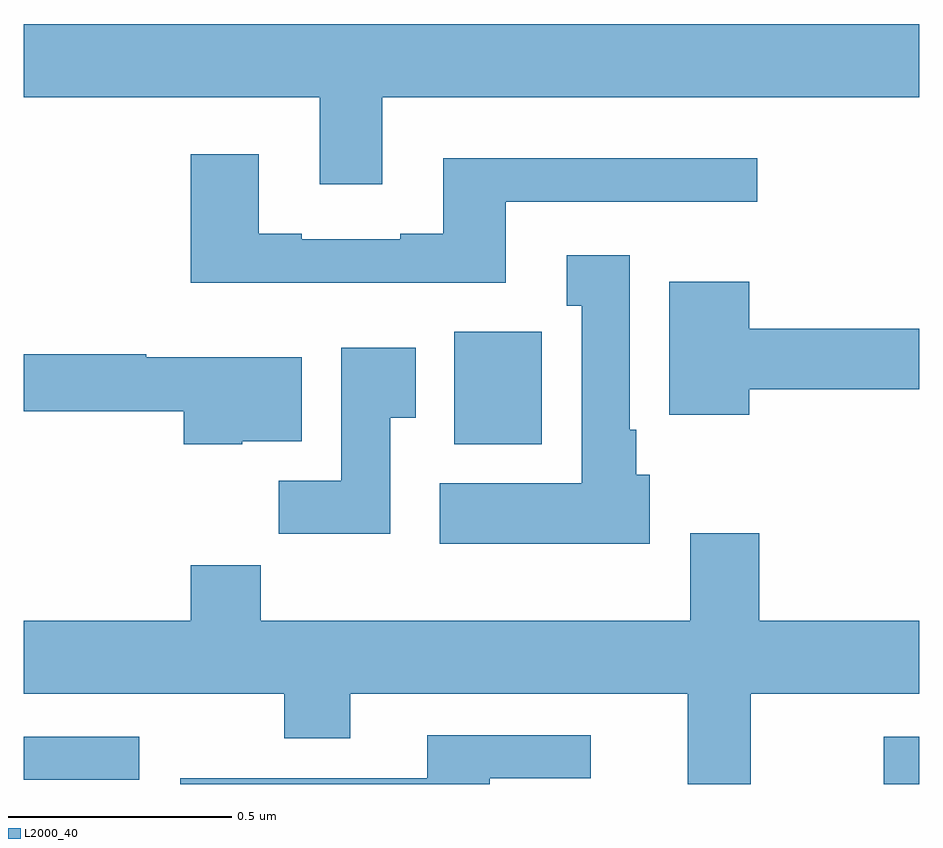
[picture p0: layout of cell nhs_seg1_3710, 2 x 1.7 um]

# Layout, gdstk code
import gdstk
lib = gdstk.Library(unit=1e-6, precision=1e-09)
def R(c, l, rs):  # rectangles x0, y0, x1, y1
    for r in rs: c.add(gdstk.rectangle(r[:2], r[2:], *l))
def P(c, l, *ps):  # polygons
    for p in ps: c.add(gdstk.Polygon(p, *l))
L2000_40 = (2000, 40)

nhs_seg1_3710 = lib.new_cell('nhs_seg1_3710')
R(nhs_seg1_3710, L2000_40, [(158.921,550.199,159,550.305), (157,550.209,157.258,550.305), (157.961,550.958,158.157,551.209)])
P(nhs_seg1_3710, L2000_40, [(157.801,551.732),(159,551.732),(159,551.896),(157,551.896),(157,551.732),(157.661,551.732),(157.661,551.538),(157.801,551.538)],
  [(158.077,551.499),(158.638,551.499),(158.638,551.596),(157.937,551.596),(157.937,551.428),(157.841,551.428),(157.841,551.415),(157.621,551.415),(157.621,551.428),(157.525,551.428),(157.525,551.605),(157.373,551.605),(157.373,551.318),(158.077,551.318)],
  [(158.398,550.89),(158.368,550.89),(158.368,550.99),(158.353,550.99),(158.353,551.38),(158.213,551.38),(158.213,551.267),(158.246,551.267),(158.246,550.87),(157.929,550.87),(157.929,550.736),(158.398,550.736)],
  [(158.62,551.08),(159,551.08),(159,551.216),(158.62,551.216),(158.62,551.32),(158.441,551.32),(158.441,551.024),(158.62,551.024)],
  [(157.819,551.017),(157.876,551.017),(157.876,551.173),(157.709,551.173),(157.709,550.876),(157.57,550.876),(157.57,550.758),(157.819,550.758)],
  [(157.488,550.964),(157.621,550.964),(157.621,551.152),(157.274,551.152),(157.274,551.159),(157,551.159),(157,551.031),(157.358,551.031),(157.358,550.958),(157.488,550.958)],
  [(158.623,550.4),(159,550.4),(159,550.564),(158.642,550.564),(158.642,550.759),(158.489,550.759),(158.489,550.564),(157.529,550.564),(157.529,550.688),(157.373,550.688),(157.373,550.564),(157,550.564),(157,550.4),(157.582,550.4),(157.582,550.301),(157.729,550.301),(157.729,550.4),(158.483,550.4),(158.483,550.199),(158.623,550.199)],
  [(158.041,550.212),(158.266,550.212),(158.266,550.308),(157.901,550.308),(157.901,550.212),(157.35,550.212),(157.35,550.199),(158.041,550.199)])

lib.write_gds('nhs_seg1_3710.gds')
